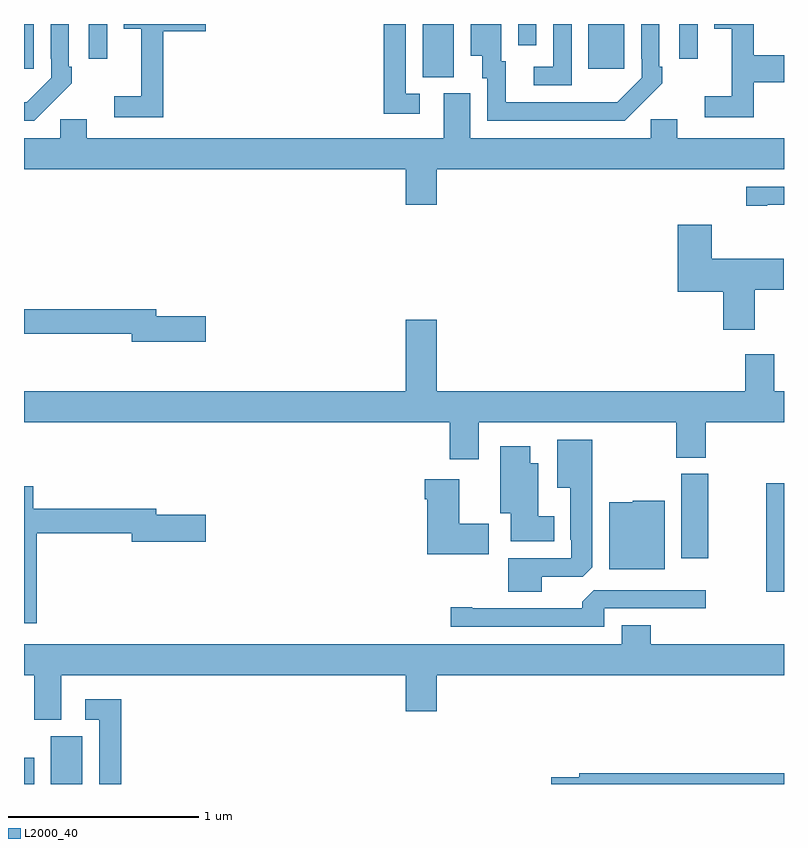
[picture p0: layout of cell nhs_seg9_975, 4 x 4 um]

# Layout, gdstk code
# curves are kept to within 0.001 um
import gdstk
lib = gdstk.Library(unit=1e-6, precision=1e-09)
def R(c, l, rs):  # rectangles x0, y0, x1, y1
    for r in rs: c.add(gdstk.rectangle(r[:2], r[2:], *l))
def P(c, l, *ps):  # polygons
    for p in ps: c.add(gdstk.Polygon(p, *l))
L2000_40 = (2000, 40)

nhs_seg9_975 = lib.new_cell('nhs_seg9_975')
R(nhs_seg9_975, L2000_40, [(163,1210.5,163.054,1210.639), (163.142,1210.5,163.306,1210.752), (166.906,1211.511,167,1212.082), (166.46,1211.688,166.602,1212.132), (165.098,1214.221,165.262,1214.5), (163,1214.265,163.051,1214.5), (165.971,1214.265,166.159,1214.5), (163.341,1214.316,163.437,1214.5), (166.449,1214.316,166.545,1214.5), (165.6,1214.388,165.696,1214.5)])
P(nhs_seg9_975, L2000_40, [(165.882,1214.5),(165.786,1214.5),(165.786,1214.274),(165.684,1214.274),(165.684,1214.178),(165.882,1214.178)],
  [(163.733,1214.462),(163.957,1214.462),(163.957,1214.5),(163.526,1214.5),(163.526,1214.474),(163.616,1214.474),(163.616,1214.119),(163.476,1214.119),(163.476,1214.01),(163.733,1214.01)],
  [(166.253,1214.083),(166.254,1214.082),(166.359,1214.187),(166.359,1214.275),(166.344,1214.275),(166.344,1214.5),(166.248,1214.5),(166.248,1214.317),(166.251,1214.317),(166.251,1214.217),(166.123,1214.089),(166.019,1214.088),(165.535,1214.088),(165.535,1214.304),(165.511,1214.304),(165.511,1214.5),(165.35,1214.5),(165.35,1214.333),(165.413,1214.333),(165.413,1214.214),(165.438,1214.214),(165.438,1213.992),(166.162,1213.992)],
  [(166.841,1214.194),(167,1214.194),(167,1214.336),(166.841,1214.336),(166.841,1214.5),(166.634,1214.5),(166.634,1214.474),(166.724,1214.474),(166.724,1214.119),(166.584,1214.119),(166.584,1214.01),(166.841,1214.01)],
  [(163.145,1214.083),(163.146,1214.082),(163.251,1214.187),(163.251,1214.275),(163.236,1214.275),(163.236,1214.5),(163.14,1214.5),(163.14,1214.317),(163.143,1214.317),(163.143,1214.217),(163.015,1214.089),(163,1214.089),(163,1213.992),(163.054,1213.992)],
  [(165.082,1214.133),(165.009,1214.133),(165.009,1214.5),(164.893,1214.5),(164.893,1214.028),(165.082,1214.028)],
  [(165.172,1213.736),(167,1213.736),(167,1213.9),(166.438,1213.9),(166.438,1213.998),(166.299,1213.998),(166.299,1213.9),(165.349,1213.9),(165.349,1214.136),(165.209,1214.136),(165.209,1213.9),(163.33,1213.9),(163.33,1213.998),(163.191,1213.998),(163.191,1213.9),(163,1213.9),(163,1213.736),(165.008,1213.736),(165.008,1213.548),(165.172,1213.548)],
  [(166.912,1213.548),(167,1213.548),(167,1213.644),(166.8,1213.644),(166.8,1213.543),(166.912,1213.543)],
  [(166.846,1213.102),(166.999,1213.102),(166.999,1213.264),(166.62,1213.264),(166.62,1213.444),(166.442,1213.444),(166.442,1213.091),(166.679,1213.091),(166.679,1212.891),(166.846,1212.891)],
  [(163.957,1212.962),(163.696,1212.962),(163.696,1212.998),(163,1212.998),(163,1212.87),(163.568,1212.87),(163.568,1212.827),(163.957,1212.827)],
  [(165.242,1212.21),(165.394,1212.21),(165.394,1212.404),(166.432,1212.404),(166.432,1212.217),(166.587,1212.217),(166.587,1212.404),(167,1212.404),(167,1212.568),(166.948,1212.568),(166.948,1212.763),(166.796,1212.763),(166.796,1212.568),(165.172,1212.568),(165.172,1212.943),(165.008,1212.943),(165.008,1212.568),(163,1212.568),(163,1212.404),(165.242,1212.404)],
  [(165.724,1211.592),(165.942,1211.592),(165.991,1211.641),(165.991,1212.313),(165.806,1212.313),(165.806,1212.059),(165.875,1212.059),(165.875,1211.785),(165.879,1211.785),(165.879,1211.688),(165.548,1211.688),(165.548,1211.513),(165.724,1211.513)],
  [(165.79,1211.908),(165.706,1211.908),(165.706,1212.187),(165.664,1212.187),(165.664,1212.277),(165.506,1212.277),(165.506,1211.924),(165.563,1211.924),(165.563,1211.777),(165.79,1211.777)],
  [(165.445,1211.871),(165.292,1211.871),(165.292,1212.103),(165.11,1212.103),(165.11,1211.999),(165.122,1211.999),(165.122,1211.708),(165.445,1211.708)],
  [(163.067,1211.821),(163.568,1211.821),(163.568,1211.774),(163.957,1211.774),(163.957,1211.916),(163.696,1211.916),(163.696,1211.95),(163.048,1211.95),(163.048,1212.067),(163,1212.067),(163,1211.346),(163.067,1211.346)],
  [(166.372,1211.992),(166.203,1211.992),(166.203,1211.983),(166.079,1211.983),(166.079,1211.63),(166.372,1211.63)],
  [(166.053,1211.424),(166.588,1211.424),(166.588,1211.52),(165.999,1211.52),(165.938,1211.458),(165.938,1211.424),(165.358,1211.424),(165.358,1211.429),(165.246,1211.429),(165.246,1211.328),(166.053,1211.328)],
  [(163,1211.072),(163.055,1211.072),(163.055,1210.837),(163.195,1210.837),(163.195,1211.072),(165.008,1211.072),(165.008,1210.884),(165.172,1210.884),(165.172,1211.072),(167,1211.072),(167,1211.236),(166.298,1211.236),(166.298,1211.335),(166.145,1211.335),(166.145,1211.236),(163,1211.236)],
  [(163.511,1210.945),(163.323,1210.945),(163.323,1210.839),(163.395,1210.839),(163.395,1210.5),(163.511,1210.5)],
  [(167,1210.556),(165.922,1210.556),(165.922,1210.536),(165.776,1210.536),(165.776,1210.5),(167,1210.5)])

lib.write_gds('nhs_seg9_975.gds')
